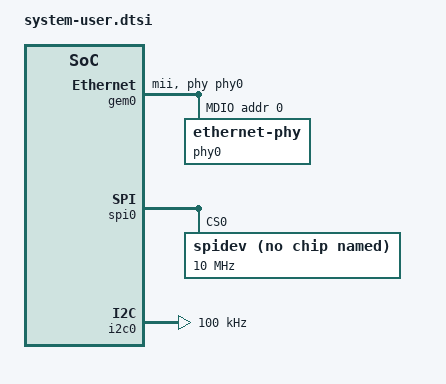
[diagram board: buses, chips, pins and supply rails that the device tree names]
/* SAdiy Phase 1 (session L). Base: ebaz4205_CANI2C, with the display and CAN
 * nodes removed (CAN0/CAN1/UART0 EMIO are disabled in phase1.tcl).
 * Copy of the file in the PetaLinux project
 *   project-spec/meta-user/recipes-bsp/device-tree/files/system-user.dtsi
 * UNTESTED on hardware (written 2026-11-14).
 */

&clkc {
    /* FCLK1 is the 25 MHz PHY clock, FCLK0 the 100 MHz fabric clock */
    fclk-enable = <0xf>;
};

&gem0 {
    status = "okay";
    local-mac-address = [00 0a 35 00 1e 53];
    phy-mode = "mii";
    phy-handle = <&phy0>;

    /* PHY clock: clkc 18 is FCLK_CLK1 on the Zynq */
    assigned-clocks = <&clkc 18>;
    assigned-clock-rates = <25000000>;

    mdio {
        #address-cells = <1>;
        #size-cells = <0>;

        phy0: ethernet-phy@0 {
            /* on-board PHY, MDIO address 0 */
            reg = <0>;
            device_type = "ethernet-phy";
        };
    };
};

/* ADF4351 on PS SPI0 via EMIO: mode 0, MSB first, LE = CS0, 10 MHz.
 * Appears as /dev/spidev0.0 (bus number 0). The kernel only accepts a listed
 * compatible for spidev; rohm,dh2228fv is the usual stand-in (verify on 6.12). */
&spi0 {
    status = "okay";
    num-cs = <1>;
    bus-num = <0>;
    is-decoded-cs = <0>;

    spidev@0 {
        compatible = "rohm,dh2228fv";
        reg = <0>;
        spi-max-frequency = <10000000>;
    };
};

/* ADS1115 (0x48) on PS I2C0 via EMIO: /dev/i2c-N (N is probably 0, check) */
&i2c0 {
    status = "okay";
    clock-frequency = <100000>;
};

/* EMIO GPIO (PE4302 V1..V6 = lines 54..59, ADF4351 CE = 60, LD = 61) is in the
 * Zynq gpio node and needs no entry here; see rtl/vivado/phase1_top.v. */

#include "system-conf.dtsi"
